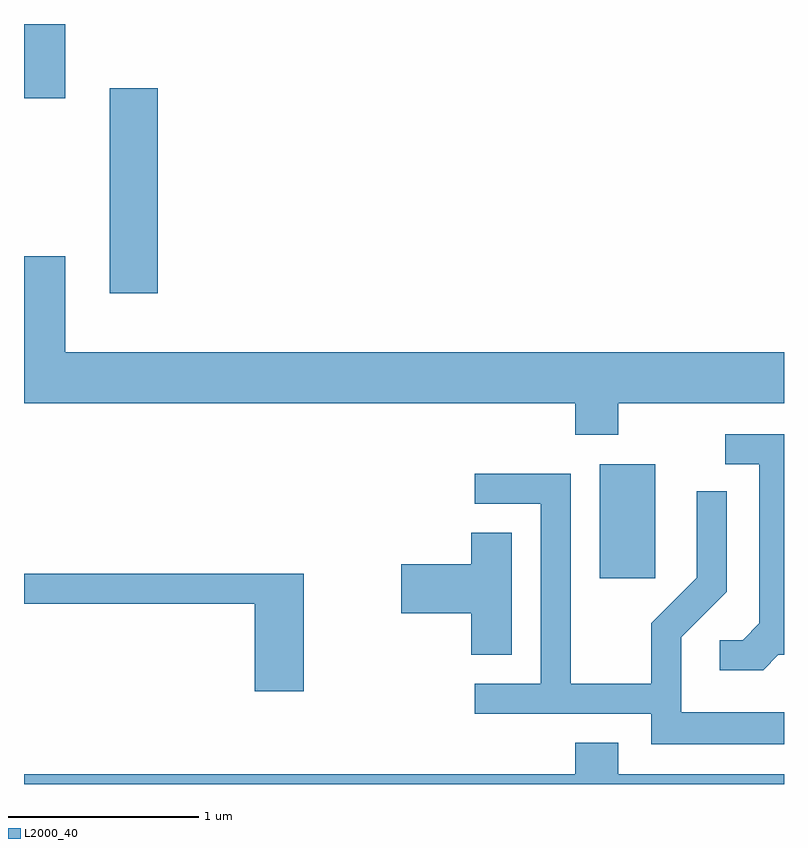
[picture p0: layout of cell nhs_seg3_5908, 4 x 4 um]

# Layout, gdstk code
import gdstk
lib = gdstk.Library(unit=1e-6, precision=1e-09)
def R(c, l, rs):  # rectangles x0, y0, x1, y1
    for r in rs: c.add(gdstk.rectangle(r[:2], r[2:], *l))
def P(c, l, *ps):  # polygons
    for p in ps: c.add(gdstk.Polygon(p, *l))
L2000_40 = (2000, 40)

nhs_seg3_5908 = lib.new_cell('nhs_seg3_5908')
R(nhs_seg3_5908, L2000_40, [(360.641,1244.976,360.934,1245.574), (358.061,1246.476,358.314,1247.554), (357.611,1247.501,357.829,1247.892)])
P(nhs_seg3_5908, L2000_40, [(360.739,1245.896),(361.611,1245.896),(361.611,1246.164),(357.829,1246.164),(357.829,1246.669),(357.611,1246.669),(357.611,1245.896),(360.511,1245.896),(360.511,1245.731),(360.739,1245.731)],
  [(361.582,1244.571),(361.611,1244.571),(361.611,1245.734),(361.303,1245.734),(361.303,1245.576),(361.481,1245.576),(361.481,1244.737),(361.394,1244.649),(361.273,1244.649),(361.273,1244.491),(361.502,1244.491)],
  [(361.611,1244.269),(361.069,1244.269),(361.069,1244.664),(361.309,1244.904),(361.309,1245.433),(361.151,1245.433),(361.151,1244.977),(360.911,1244.737),(360.911,1244.419),(360.489,1244.419),(360.489,1245.524),(359.983,1245.524),(359.983,1245.366),(360.331,1245.366),(360.331,1244.419),(359.983,1244.419),(359.983,1244.261),(360.911,1244.261),(360.911,1244.101),(361.611,1244.101)],
  [(360.179,1245.214),(359.966,1245.214),(359.966,1245.049),(359.596,1245.049),(359.596,1244.791),(359.966,1244.791),(359.966,1244.571),(360.179,1244.571)],
  [(359.084,1244.999),(357.611,1244.999),(357.611,1244.841),(358.826,1244.841),(358.826,1244.381),(359.084,1244.381)],
  [(361.611,1243.944),(360.739,1243.944),(360.739,1244.109),(360.511,1244.109),(360.511,1243.944),(357.611,1243.944),(357.611,1243.892),(361.611,1243.892)])

lib.write_gds('nhs_seg3_5908.gds')
